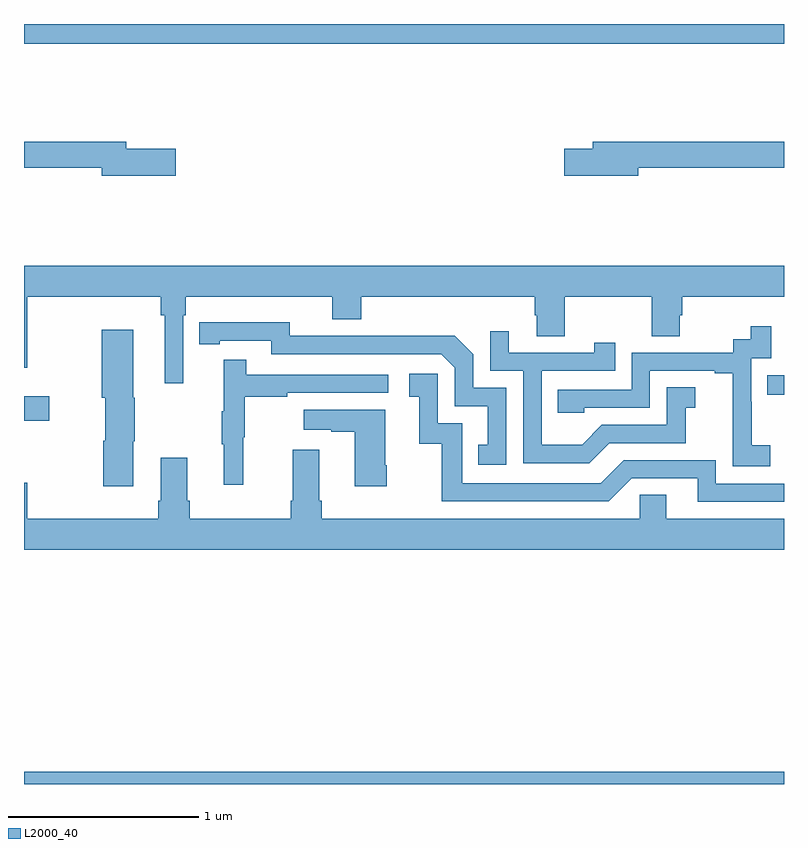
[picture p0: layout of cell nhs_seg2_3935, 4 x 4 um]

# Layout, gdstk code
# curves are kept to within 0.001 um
import gdstk
lib = gdstk.Library(unit=1e-6, precision=1e-09)
def R(c, l, rs):  # rectangles x0, y0, x1, y1
    for r in rs: c.add(gdstk.rectangle(r[:2], r[2:], *l))
def P(c, l, *ps):  # polygons
    for p in ps: c.add(gdstk.Polygon(p, *l))
L2000_40 = (2000, 40)

nhs_seg2_3935 = lib.new_cell('nhs_seg2_3935')
R(nhs_seg2_3935, L2000_40, [(321,583.8,325,583.864), (321,585.712,321.133,585.841), (324.913,585.85,325,585.951), (321,587.696,325,587.8)])
P(nhs_seg2_3935, L2000_40, [(324.232,587.044),(325,587.044),(325,587.18),(323.993,587.18),(323.993,587.144),(323.844,587.144),(323.844,587.002),(324.232,587.002)],
  [(321.799,587.144),(321.538,587.144),(321.538,587.18),(321,587.18),(321,587.044),(321.41,587.044),(321.41,587.002),(321.799,587.002)],
  [(321.837,586.268),(321.851,586.268),(321.851,586.364),(322.622,586.364),(322.622,586.247),(322.775,586.247),(322.775,586.364),(323.687,586.364),(323.687,586.266),(323.699,586.266),(323.699,586.156),(323.847,586.156),(323.847,586.364),(324.304,586.364),(324.304,586.156),(324.451,586.156),(324.451,586.266),(324.464,586.266),(324.464,586.364),(325,586.364),(325,586.528),(321,586.528),(321,585.99),(321.016,585.99),(321.016,586.364),(321.721,586.364),(321.721,586.268),(321.74,586.268),(321.74,585.909),(321.837,585.909)],
  [(323.538,585.885),(323.364,585.885),(323.364,586.062),(323.266,586.16),(322.858,586.16),(322.858,586.158),(322.398,586.158),(322.398,586.231),(321.922,586.23),(321.922,586.114),(322.03,586.114),(322.03,586.134),(322.302,586.134),(322.302,586.062),(323.196,586.062),(323.268,585.99),(323.268,585.789),(323.441,585.789),(323.441,585.585),(323.392,585.585),(323.392,585.48),(323.538,585.48)],
  [(324.928,585.583),(324.83,585.583),(324.83,585.812),(324.828,585.812),(324.828,586.041),(324.933,586.041),(324.933,586.21),(324.825,586.21),(324.825,586.14),(324.732,586.14),(324.732,586.071),(324.198,586.071),(324.198,585.876),(323.809,585.876),(323.809,585.753),(323.949,585.753),(323.949,585.78),(324.294,585.78),(324.294,585.975),(324.635,585.975),(324.635,585.963),(324.731,585.963),(324.731,585.679),(324.73,585.679),(324.73,585.473),(324.928,585.473)],
  [(321.574,585.604),(321.582,585.604),(321.582,585.834),(321.574,585.834),(321.574,586.192),(321.41,586.192),(321.41,585.834),(321.428,585.834),(321.428,585.606),(321.416,585.606),(321.416,585.366),(321.574,585.366)],
  [(324.079,585.594),(324.483,585.594),(324.483,585.779),(324.532,585.779),(324.532,585.889),(324.384,585.889),(324.384,585.69),(324.042,585.69),(323.938,585.586),(323.724,585.586),(323.724,585.975),(324.113,585.975),(324.113,586.123),(324.002,586.123),(324.002,586.071),(323.551,586.071),(323.551,586.183),(323.454,586.183),(323.454,585.975),(323.628,585.975),(323.628,585.489),(323.974,585.489)],
  [(322.154,585.624),(322.162,585.624),(322.162,585.838),(322.385,585.838),(322.385,585.858),(322.918,585.858),(322.918,585.954),(322.169,585.954),(322.169,586.033),(322.052,586.033),(322.052,585.761),(322.041,585.761),(322.041,585.587),(322.052,585.587),(322.052,585.375),(322.154,585.375)],
  [(325,585.381),(324.642,585.381),(324.642,585.504),(324.156,585.504),(324.036,585.384),(323.307,585.384),(323.307,585.699),(323.178,585.699),(323.178,585.958),(323.028,585.958),(323.028,585.837),(323.081,585.837),(323.081,585.591),(323.199,585.591),(323.199,585.288),(324.078,585.288),(324.198,585.408),(324.545,585.408),(324.545,585.285),(325,585.285)],
  [(322.908,585.478),(322.9,585.478),(322.9,585.769),(322.473,585.769),(322.473,585.665),(322.616,585.665),(322.616,585.655),(322.742,585.655),(322.742,585.366),(322.908,585.366)],
  [(325,585.196),(324.379,585.196),(324.379,585.323),(324.24,585.323),(324.24,585.196),(322.568,585.196),(322.568,585.292),(322.555,585.292),(322.555,585.559),(322.415,585.559),(322.415,585.292),(322.403,585.292),(322.403,585.196),(321.872,585.196),(321.872,585.292),(321.859,585.292),(321.859,585.517),(321.719,585.517),(321.719,585.292),(321.707,585.292),(321.707,585.196),(321.016,585.196),(321.016,585.385),(321,585.385),(321,585.032),(325,585.032)])

lib.write_gds('nhs_seg2_3935.gds')
